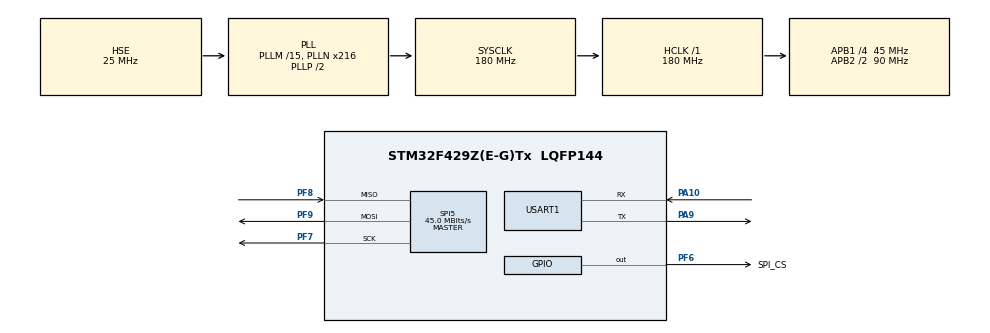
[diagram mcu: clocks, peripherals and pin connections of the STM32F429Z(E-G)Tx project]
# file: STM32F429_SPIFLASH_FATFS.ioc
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FREERTOS.Tasks01=defaultTask,24,128,StartDefaultTask,Default,NULL,Dynamic,NULL,NULL
Mcu.Family=STM32F4
Mcu.Name=STM32F429Z(E-G)Tx
Mcu.Package=LQFP144
NVIC.PriorityGroup=NVIC_PRIORITYGROUP_4
NVIC.TIM6_DAC_IRQn=true\:15\:0\:false\:false\:true\:false\:false\:true\:true
NVIC.TimeBase=TIM6_DAC_IRQn
NVIC.TimeBaseIP=TIM6
PA10.Mode=Asynchronous
PA10.Signal=USART1_RX
PA13.Mode=Serial_Wire
PA13.Signal=SYS_JTMS-SWDIO
PA14.Mode=Serial_Wire
PA14.Signal=SYS_JTCK-SWCLK
PA9.Mode=Asynchronous
PA9.Signal=USART1_TX
PC14/OSC32_IN.Mode=LSE-External-Oscillator
PC14/OSC32_IN.Signal=RCC_OSC32_IN
PC15/OSC32_OUT.Mode=LSE-External-Oscillator
PC15/OSC32_OUT.Signal=RCC_OSC32_OUT
PF6.GPIO_Label=SPI_CS
PF6.GPIO_Speed=GPIO_SPEED_FREQ_HIGH
PF6.PinState=GPIO_PIN_SET
PF6.Signal=GPIO_Output
PF7.Mode=Full_Duplex_Master
PF7.Signal=SPI5_SCK
PF8.Mode=Full_Duplex_Master
PF8.Signal=SPI5_MISO
PF9.Mode=Full_Duplex_Master
PF9.Signal=SPI5_MOSI
PH0/OSC_IN.Mode=HSE-External-Oscillator
PH0/OSC_IN.Signal=RCC_OSC_IN
PH1/OSC_OUT.Mode=HSE-External-Oscillator
PH1/OSC_OUT.Signal=RCC_OSC_OUT
ProjectManager.HeapSize=0x200
ProjectManager.StackSize=0x400
ProjectManager.TargetToolchain=MDK-ARM V5.32
RCC.48MHZClocksFreq_Value=90000000
RCC.AHBFreq_Value=180000000
RCC.APB1CLKDivider=RCC_HCLK_DIV4
RCC.APB1Freq_Value=45000000
RCC.APB1TimFreq_Value=90000000
RCC.APB2CLKDivider=RCC_HCLK_DIV2
RCC.APB2Freq_Value=90000000
RCC.APB2TimFreq_Value=180000000
RCC.CortexFreq_Value=180000000
RCC.HCLKFreq_Value=180000000
RCC.HSE_VALUE=25000000
RCC.HSI_VALUE=16000000
RCC.PLLM=15
RCC.PLLN=216
RCC.PLLSourceVirtual=RCC_PLLSOURCE_HSE
RCC.SYSCLKFreq_VALUE=180000000
RCC.SYSCLKSource=RCC_SYSCLKSOURCE_PLLCLK
RCC.VCOOutputFreq_Value=360000000
SPI5.BaudRatePrescaler=SPI_BAUDRATEPRESCALER_2
SPI5.CLKPhase=SPI_PHASE_1EDGE
SPI5.CLKPolarity=SPI_POLARITY_LOW
SPI5.CRCCalculation=SPI_CRCCALCULATION_DISABLE
SPI5.CalculateBaudRate=45.0 MBits/s
SPI5.Direction=SPI_DIRECTION_2LINES
SPI5.Mode=SPI_MODE_MASTER
SPI5.VirtualType=VM_MASTER
USART1.VirtualMode=VM_ASYNC
VP_FREERTOS_VS_CMSIS_V2.Mode=CMSIS_V2
VP_SYS_VS_tim6.Mode=TIM6
board=custom

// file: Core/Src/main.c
/* USER CODE BEGIN Header */
/**
  ******************************************************************************
  * @file           : main.c
  * @brief          : Main program body
  ******************************************************************************
  * @attention
  *
  * Copyright (c) 2024 STMicroelectronics.
  * All rights reserved.
  *
  * This software is licensed under terms that can be found in the LICENSE file
  * in the root directory of this software component.
  * If no LICENSE file comes with this software, it is provided AS-IS.
  *
  ******************************************************************************
  */
/* USER CODE END Header */
#include "main.h"
#include "cmsis_os.h"
#include "spi.h"
#include "usart.h"
#include "gpio.h"

/* USER CODE BEGIN Includes */
#include <stdio.h>
#include "w25qxx.h"
#include <string.h>
#include "ff.h"
/* USER CODE END Includes */

void SystemClock_Config(void);
void MX_FREERTOS_Init(void);

int main(void)
{

  /* MCU Configuration--------------------------------------------------------*/

  /* Reset of all peripherals, Initializes the Flash interface and the Systick. */
  HAL_Init();

  /* Configure the system clock */
  SystemClock_Config();

  /* Initialize all configured peripherals */
  MX_GPIO_Init();
  MX_SPI5_Init();
  MX_USART1_UART_Init();
  /* USER CODE BEGIN 2 */
  FATFS fs;						/* FatFs文件系统对象 */
  FIL fnew;						/* 文件对象 */
  FRESULT res_flash;              /* 文件操作结果 */
  UINT fnum;            			/* 文件成功读写数量 */
  BYTE ReadBuffer[1024]={0};      /* 读缓冲区 */
  BYTE WriteBuffer[] = "welcome to use YeHuo board, this is a file system test.\r\n";            /* 写缓冲区*/
  BYTE work[FF_MAX_SS];  // 工作缓冲区
  MKFS_PARM opt = {
      .fmt = FM_FAT|FM_SFD,
      .n_fat = 1,
      .align = 0,
      .n_root = 0,
      .au_size = 0
  };

	res_flash = f_mount(&fs, "0:", 1);
if (res_flash == FR_NO_FILESYSTEM)
	{
		printf("》FLASH还没有文件系统，即将进行格式化...\r\n");

		res_flash = f_mkfs("0:", &opt, work, sizeof(work));

		if (res_flash == FR_OK)
		{
			printf("》FLASH已成功格式化文件系统。\r\n");
			res_flash = f_mount(NULL, "0:", 1);
			res_flash = f_mount(&fs, "0:", 1);
			if (res_flash == FR_OK)
			{
				printf("格式化后挂载成功\r\n");
			}
			else
			{
				printf("格式化后挂载失败, err = %d\r\n", res_flash);
			}
		}
		else
		{
			printf("《《格式化失败。》》\r\n");
			printf("errcode = %d\r\n", res_flash);
			while(1);
		}
	}
	else if (res_flash!=FR_OK)
	{
		printf("！！外部Flash挂载文件系统失败。(%d)\r\n",res_flash);
		printf("！！可能原因：SPI Flash初始化不成功。\r\n");
		printf("请下载 SPI—读写串行FLASH 例程测试，如果正常，在该例程f_mount语句下if语句前临时多添加一句 res_flash = FR_NO_FILESYSTEM; 让重新直接执行格式化流程\r\n");
		while(1);
	}
	else
	{
		printf("》文件系统挂载成功，可以进行读写测试\r\n");
	}
/*----------------------- 文件系统测试：写测试 -------------------*/
	/* 打开文件，每次都以新建的形式打开，属性为可写 */
	printf("\r\n****** 即将进行文件写入测试... ******\r\n");
	res_flash = f_open(&fnew, "0:/test1.txt",FA_CREATE_ALWAYS | FA_WRITE );
	printf("/******************************************************/\r\n");
	if ( res_flash == FR_OK )
	{
		printf("》打开/创建test1.txt文件成功，向文件写入数据。\r\n");
		/* 将指定存储区内容写入到文件内 */
		res_flash=f_write(&fnew,WriteBuffer,sizeof(WriteBuffer),&fnum);
		if(res_flash == FR_OK)
		{
		  printf("》文件写入成功，写入字节数据：%d\n",fnum);
		  printf("》向文件写入的数据为：\r\n%s\r\n",WriteBuffer);
		}
		else
		{
		  printf("！！文件写入失败：(%d)\n",res_flash);
		}
			/* 不再读写，关闭文件 */
		f_close(&fnew);
	}
	else
	{
		printf("！！打开/创建文件失败。\r\n");
	}

	/*----------------------- 文件系统测试：读测试 -------------------*/
	printf("\r\n****** 即将进行文件读取测试... ******\r\n");
	res_flash = f_open(&fnew, "0:/test1.txt", FA_OPEN_EXISTING|FA_READ );
	if ( res_flash == FR_OK )
	{
		printf("》打开文件成功。\r\n");

		res_flash=f_read(&fnew,ReadBuffer,sizeof(ReadBuffer),&fnum);
		if(res_flash == FR_OK)
		{
			printf("》文件读取成功,读到字节数据：%d\r\n",fnum);
			printf("》读取得的文件数据为：\r\n%s \r\n", ReadBuffer);
		}
		else
		{
			printf("！！文件读取失败：(%d)\n",res_flash);
		}
	}
	else
	{
		printf("！！打开文件失败。\r\n");
	}
	/* 不再读写，关闭文件 */
	f_close(&fnew);

	/* 不再使用文件系统，取消挂载文件系统 */
	f_mount(NULL, "0:", 1);

  /* USER CODE END 2 */

  /* Init scheduler */
  osKernelInitialize();  /* Call init function for freertos objects (in freertos.c) */
  MX_FREERTOS_Init();

  /* Start scheduler */
  osKernelStart();
  /* We should never get here as control is now taken by the scheduler */
  /* Infinite loop */
  while (1)
  {

  }
}

void SystemClock_Config(void)
{
  RCC_OscInitTypeDef RCC_OscInitStruct = {0};
  RCC_ClkInitTypeDef RCC_ClkInitStruct = {0};

  /** Configure the main internal regulator output voltage
  */
  __HAL_RCC_PWR_CLK_ENABLE();
  __HAL_PWR_VOLTAGESCALING_CONFIG(PWR_REGULATOR_VOLTAGE_SCALE1);

  /** Initializes the RCC Oscillators according to the specified parameters
  * in the RCC_OscInitTypeDef structure.
  */
  RCC_OscInitStruct.OscillatorType = RCC_OSCILLATORTYPE_HSE;
  RCC_OscInitStruct.HSEState = RCC_HSE_ON;
  RCC_OscInitStruct.PLL.PLLState = RCC_PLL_ON;
  RCC_OscInitStruct.PLL.PLLSource = RCC_PLLSOURCE_HSE;
  RCC_OscInitStruct.PLL.PLLM = 15;
  RCC_OscInitStruct.PLL.PLLN = 216;
  RCC_OscInitStruct.PLL.PLLP = RCC_PLLP_DIV2;
  RCC_OscInitStruct.PLL.PLLQ = 4;
  if (HAL_RCC_OscConfig(&RCC_OscInitStruct) != HAL_OK)
  {
    Error_Handler();
  }

  /** Activate the Over-Drive mode
  */
  if (HAL_PWREx_EnableOverDrive() != HAL_OK)
  {
    Error_Handler();
  }

  /** Initializes the CPU, AHB and APB buses clocks
  */
  RCC_ClkInitStruct.ClockType = RCC_CLOCKTYPE_HCLK|RCC_CLOCKTYPE_SYSCLK
                              |RCC_CLOCKTYPE_PCLK1|RCC_CLOCKTYPE_PCLK2;
  RCC_ClkInitStruct.SYSCLKSource = RCC_SYSCLKSOURCE_PLLCLK;
  RCC_ClkInitStruct.AHBCLKDivider = RCC_SYSCLK_DIV1;
  RCC_ClkInitStruct.APB1CLKDivider = RCC_HCLK_DIV4;
  RCC_ClkInitStruct.APB2CLKDivider = RCC_HCLK_DIV2;

  if (HAL_RCC_ClockConfig(&RCC_ClkInitStruct, FLASH_LATENCY_5) != HAL_OK)
  {
    Error_Handler();
  }
}

void HAL_TIM_PeriodElapsedCallback(TIM_HandleTypeDef *htim)
{
  if (htim->Instance == TIM6) {
    HAL_IncTick();
  }
}

void Error_Handler(void)
{
  __disable_irq();
  while (1)
  {
  }
}
